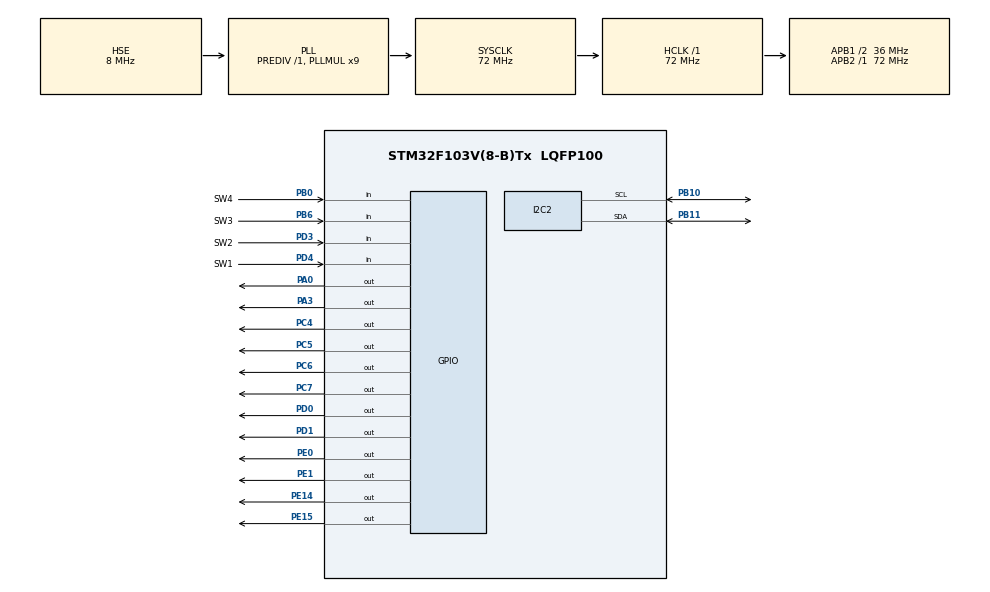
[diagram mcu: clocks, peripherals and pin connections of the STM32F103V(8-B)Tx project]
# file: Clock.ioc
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Mcu.Family=STM32F1
Mcu.Name=STM32F103V(8-B)Tx
Mcu.Package=LQFP100
NVIC.PriorityGroup=NVIC_PRIORITYGROUP_4
NVIC.TIM1_BRK_IRQn=true\:0\:0\:false\:false\:true\:true\:true
NVIC.TIM1_UP_IRQn=true\:0\:0\:false\:false\:true\:true\:true
NVIC.TIM2_IRQn=true\:0\:0\:false\:false\:true\:true\:true
OSC_IN.Mode=HSE-External-Oscillator
OSC_IN.Signal=RCC_OSC_IN
OSC_OUT.Mode=HSE-External-Oscillator
OSC_OUT.Signal=RCC_OSC_OUT
PA0-WKUP.Signal=GPIO_Output
PA13.Mode=Serial_Wire
PA13.Signal=SYS_JTMS-SWDIO
PA14.Mode=Serial_Wire
PA14.Signal=SYS_JTCK-SWCLK
PA3.Signal=GPIO_Output
PB0.GPIO_Label=SW4
PB0.Signal=GPIO_Input
PB10.Mode=I2C
PB10.Signal=I2C2_SCL
PB11.Mode=I2C
PB11.Signal=I2C2_SDA
PB6.GPIO_Label=SW3
PB6.Signal=GPIO_Input
PC4.Signal=GPIO_Output
PC5.Signal=GPIO_Output
PC6.Signal=GPIO_Output
PC7.Signal=GPIO_Output
PD0.Signal=GPIO_Output
PD1.Signal=GPIO_Output
PD3.GPIO_Label=SW2
PD3.Signal=GPIO_Input
PD4.GPIO_Label=SW1
PD4.Signal=GPIO_Input
PE0.Signal=GPIO_Output
PE1.Signal=GPIO_Output
PE14.Signal=GPIO_Output
PE15.Signal=GPIO_Output
ProjectManager.HeapSize=0x200
ProjectManager.StackSize=0x400
ProjectManager.TargetToolchain=STM32CubeIDE
RCC.AHBFreq_Value=72000000
RCC.APB1CLKDivider=RCC_HCLK_DIV2
RCC.APB1Freq_Value=36000000
RCC.APB1TimFreq_Value=72000000
RCC.APB2Freq_Value=72000000
RCC.APB2TimFreq_Value=72000000
RCC.HCLKFreq_Value=72000000
RCC.PLLMUL=RCC_PLL_MUL9
RCC.PLLSourceVirtual=RCC_PLLSOURCE_HSE
RCC.SYSCLKFreq_VALUE=72000000
RCC.SYSCLKSource=RCC_SYSCLKSOURCE_PLLCLK
RCC.USBFreq_Value=72000000
TIM1.Channel-Output\ Compare1\ No\ Output=TIM_CHANNEL_1
TIM1.Period=59999
TIM1.Prescaler=1199
TIM2.Channel-Output\ Compare1\ No\ Output=TIM_CHANNEL_1
TIM2.Period=29999
TIM2.Prescaler=1199
VP_TIM1_VS_ClockSourceINT.Mode=Internal
VP_TIM1_VS_no_output1.Mode=Output Compare1 No Output
VP_TIM2_VS_ClockSourceINT.Mode=Internal
VP_TIM2_VS_no_output1.Mode=Output Compare1 No Output
board=custom

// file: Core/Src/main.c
/* USER CODE BEGIN Header */
/**
  ******************************************************************************
  * @file           : main.c
  * @brief          : Main program body
  ******************************************************************************
  * @attention
  *
  * <h2><center>&copy; Copyright (c) 2022 STMicroelectronics.
  * All rights reserved.</center></h2>
  *
  * This software component is licensed by ST under BSD 3-Clause license,
  * the "License"; You may not use this file except in compliance with the
  * License. You may obtain a copy of the License at:
  *                        opensource.org/licenses/BSD-3-Clause
  *
  ******************************************************************************
  */
/* USER CODE END Header */
#include "main.h"

/* USER CODE BEGIN Includes */
#include "ssd1306.h"
#include "ssd1306_tests.h"
#include <stdbool.h>
#include <stdio.h>
/* USER CODE END Includes */

I2C_HandleTypeDef hi2c2;

TIM_HandleTypeDef htim1;
TIM_HandleTypeDef htim2;

/* USER CODE BEGIN PV */
int clockmode = 0;
int second = 0;
int minute = 0;
int hour = 0;
int year = 2022;
int month = 5;
int date = 29;
int alarm1[3]={0,0,0},alarm2[3]={0,0,0},alarm3[3]={0,0,0};
int alarm=0;
char line1[12],line2[12],line3[12];
int twinkle = 0;
/* USER CODE END PV */

void SystemClock_Config(void);
static void MX_GPIO_Init(void);
static void MX_I2C2_Init(void);
static void MX_TIM1_Init(void);
static void MX_TIM2_Init(void);
/* USER CODE BEGIN PFP */
void mode_check();
void oled_show();
void show_time();
void show_calendar();
void show_alarm();
void show_set();
void show_error();
int check_date();
int check_sw();
void set_date();
void store_time();
void read_time();
/* USER CODE END PFP */

int main(void)
{

  /* MCU Configuration--------------------------------------------------------*/

  /* Reset of all peripherals, Initializes the Flash interface and the Systick. */
  HAL_Init();

  /* Configure the system clock */
  SystemClock_Config();

  /* Initialize all configured peripherals */
  MX_GPIO_Init();
  MX_I2C2_Init();
  MX_TIM1_Init();
  MX_TIM2_Init();
  /* USER CODE BEGIN 2 */
  ssd1306_Init();
  HAL_TIM_Base_Start_IT(&htim1);
  HAL_TIM_Base_Start_IT(&htim2);
  read_time();
  /* USER CODE END 2 */

  /* Infinite loop */
  /* USER CODE BEGIN WHILE */
  while (1)
  {
	  mode_check();
	  oled_show();
    /* USER CODE END WHILE */

  }
}

void SystemClock_Config(void)
{
  RCC_OscInitTypeDef RCC_OscInitStruct = {0};
  RCC_ClkInitTypeDef RCC_ClkInitStruct = {0};

  /** Initializes the RCC Oscillators according to the specified parameters
  * in the RCC_OscInitTypeDef structure.
  */
  RCC_OscInitStruct.OscillatorType = RCC_OSCILLATORTYPE_HSE;
  RCC_OscInitStruct.HSEState = RCC_HSE_ON;
  RCC_OscInitStruct.HSEPredivValue = RCC_HSE_PREDIV_DIV1;
  RCC_OscInitStruct.HSIState = RCC_HSI_ON;
  RCC_OscInitStruct.PLL.PLLState = RCC_PLL_ON;
  RCC_OscInitStruct.PLL.PLLSource = RCC_PLLSOURCE_HSE;
  RCC_OscInitStruct.PLL.PLLMUL = RCC_PLL_MUL9;
  if (HAL_RCC_OscConfig(&RCC_OscInitStruct) != HAL_OK)
  {
    Error_Handler();
  }
  /** Initializes the CPU, AHB and APB buses clocks
  */
  RCC_ClkInitStruct.ClockType = RCC_CLOCKTYPE_HCLK|RCC_CLOCKTYPE_SYSCLK
                              |RCC_CLOCKTYPE_PCLK1|RCC_CLOCKTYPE_PCLK2;
  RCC_ClkInitStruct.SYSCLKSource = RCC_SYSCLKSOURCE_PLLCLK;
  RCC_ClkInitStruct.AHBCLKDivider = RCC_SYSCLK_DIV1;
  RCC_ClkInitStruct.APB1CLKDivider = RCC_HCLK_DIV2;
  RCC_ClkInitStruct.APB2CLKDivider = RCC_HCLK_DIV1;

  if (HAL_RCC_ClockConfig(&RCC_ClkInitStruct, FLASH_LATENCY_2) != HAL_OK)
  {
    Error_Handler();
  }
}

static void MX_I2C2_Init(void)
{

  hi2c2.Instance = I2C2;
  hi2c2.Init.ClockSpeed = 100000;
  hi2c2.Init.DutyCycle = I2C_DUTYCYCLE_2;
  hi2c2.Init.OwnAddress1 = 0;
  hi2c2.Init.AddressingMode = I2C_ADDRESSINGMODE_7BIT;
  hi2c2.Init.DualAddressMode = I2C_DUALADDRESS_DISABLE;
  hi2c2.Init.OwnAddress2 = 0;
  hi2c2.Init.GeneralCallMode = I2C_GENERALCALL_DISABLE;
  hi2c2.Init.NoStretchMode = I2C_NOSTRETCH_DISABLE;
  if (HAL_I2C_Init(&hi2c2) != HAL_OK)
  {
    Error_Handler();
  }

}

static void MX_TIM1_Init(void)
{

  TIM_ClockConfigTypeDef sClockSourceConfig = {0};
  TIM_MasterConfigTypeDef sMasterConfig = {0};
  TIM_OC_InitTypeDef sConfigOC = {0};
  TIM_BreakDeadTimeConfigTypeDef sBreakDeadTimeConfig = {0};

  htim1.Instance = TIM1;
  htim1.Init.Prescaler = 1199;
  htim1.Init.CounterMode = TIM_COUNTERMODE_UP;
  htim1.Init.Period = 59999;
  htim1.Init.ClockDivision = TIM_CLOCKDIVISION_DIV1;
  htim1.Init.RepetitionCounter = 0;
  htim1.Init.AutoReloadPreload = TIM_AUTORELOAD_PRELOAD_DISABLE;
  if (HAL_TIM_Base_Init(&htim1) != HAL_OK)
  {
    Error_Handler();
  }
  sClockSourceConfig.ClockSource = TIM_CLOCKSOURCE_INTERNAL;
  if (HAL_TIM_ConfigClockSource(&htim1, &sClockSourceConfig) != HAL_OK)
  {
    Error_Handler();
  }
  if (HAL_TIM_OC_Init(&htim1) != HAL_OK)
  {
    Error_Handler();
  }
  sMasterConfig.MasterOutputTrigger = TIM_TRGO_RESET;
  sMasterConfig.MasterSlaveMode = TIM_MASTERSLAVEMODE_DISABLE;
  if (HAL_TIMEx_MasterConfigSynchronization(&htim1, &sMasterConfig) != HAL_OK)
  {
    Error_Handler();
  }
  sConfigOC.OCMode = TIM_OCMODE_TIMING;
  sConfigOC.Pulse = 0;
  sConfigOC.OCPolarity = TIM_OCPOLARITY_HIGH;
  sConfigOC.OCNPolarity = TIM_OCNPOLARITY_HIGH;
  sConfigOC.OCFastMode = TIM_OCFAST_DISABLE;
  sConfigOC.OCIdleState = TIM_OCIDLESTATE_RESET;
  sConfigOC.OCNIdleState = TIM_OCNIDLESTATE_RESET;
  if (HAL_TIM_OC_ConfigChannel(&htim1, &sConfigOC, TIM_CHANNEL_1) != HAL_OK)
  {
    Error_Handler();
  }
  sBreakDeadTimeConfig.OffStateRunMode = TIM_OSSR_DISABLE;
  sBreakDeadTimeConfig.OffStateIDLEMode = TIM_OSSI_DISABLE;
  sBreakDeadTimeConfig.LockLevel = TIM_LOCKLEVEL_OFF;
  sBreakDeadTimeConfig.DeadTime = 0;
  sBreakDeadTimeConfig.BreakState = TIM_BREAK_DISABLE;
  sBreakDeadTimeConfig.BreakPolarity = TIM_BREAKPOLARITY_HIGH;
  sBreakDeadTimeConfig.AutomaticOutput = TIM_AUTOMATICOUTPUT_DISABLE;
  if (HAL_TIMEx_ConfigBreakDeadTime(&htim1, &sBreakDeadTimeConfig) != HAL_OK)
  {
    Error_Handler();
  }

}

static void MX_TIM2_Init(void)
{

  TIM_ClockConfigTypeDef sClockSourceConfig = {0};
  TIM_MasterConfigTypeDef sMasterConfig = {0};
  TIM_OC_InitTypeDef sConfigOC = {0};

  htim2.Instance = TIM2;
  htim2.Init.Prescaler = 1199;
  htim2.Init.CounterMode = TIM_COUNTERMODE_UP;
  htim2.Init.Period = 29999;
  htim2.Init.ClockDivision = TIM_CLOCKDIVISION_DIV1;
  htim2.Init.AutoReloadPreload = TIM_AUTORELOAD_PRELOAD_DISABLE;
  if (HAL_TIM_Base_Init(&htim2) != HAL_OK)
  {
    Error_Handler();
  }
  sClockSourceConfig.ClockSource = TIM_CLOCKSOURCE_INTERNAL;
  if (HAL_TIM_ConfigClockSource(&htim2, &sClockSourceConfig) != HAL_OK)
  {
    Error_Handler();
  }
  if (HAL_TIM_OC_Init(&htim2) != HAL_OK)
  {
    Error_Handler();
  }
  sMasterConfig.MasterOutputTrigger = TIM_TRGO_RESET;
  sMasterConfig.MasterSlaveMode = TIM_MASTERSLAVEMODE_DISABLE;
  if (HAL_TIMEx_MasterConfigSynchronization(&htim2, &sMasterConfig) != HAL_OK)
  {
    Error_Handler();
  }
  sConfigOC.OCMode = TIM_OCMODE_TIMING;
  sConfigOC.Pulse = 0;
  sConfigOC.OCPolarity = TIM_OCPOLARITY_HIGH;
  sConfigOC.OCFastMode = TIM_OCFAST_DISABLE;
  if (HAL_TIM_OC_ConfigChannel(&htim2, &sConfigOC, TIM_CHANNEL_1) != HAL_OK)
  {
    Error_Handler();
  }

}

static void MX_GPIO_Init(void)
{
  GPIO_InitTypeDef GPIO_InitStruct = {0};

  /* GPIO Ports Clock Enable */
  __HAL_RCC_GPIOA_CLK_ENABLE();
  __HAL_RCC_GPIOC_CLK_ENABLE();
  __HAL_RCC_GPIOB_CLK_ENABLE();
  __HAL_RCC_GPIOE_CLK_ENABLE();
  __HAL_RCC_GPIOD_CLK_ENABLE();

  /*Configure GPIO pin Output Level */
  HAL_GPIO_WritePin(GPIOA, GPIO_PIN_0|GPIO_PIN_3, GPIO_PIN_RESET);

  /*Configure GPIO pin Output Level */
  HAL_GPIO_WritePin(GPIOC, GPIO_PIN_4|GPIO_PIN_5|GPIO_PIN_6|GPIO_PIN_7, GPIO_PIN_RESET);

  /*Configure GPIO pin Output Level */
  HAL_GPIO_WritePin(GPIOE, GPIO_PIN_14|GPIO_PIN_15|GPIO_PIN_0|GPIO_PIN_1, GPIO_PIN_RESET);

  /*Configure GPIO pin Output Level */
  HAL_GPIO_WritePin(GPIOD, GPIO_PIN_0|GPIO_PIN_1, GPIO_PIN_RESET);

  /*Configure GPIO pins : PA0 PA3 */
  GPIO_InitStruct.Pin = GPIO_PIN_0|GPIO_PIN_3;
  GPIO_InitStruct.Mode = GPIO_MODE_OUTPUT_PP;
  GPIO_InitStruct.Pull = GPIO_NOPULL;
  GPIO_InitStruct.Speed = GPIO_SPEED_FREQ_LOW;
  HAL_GPIO_Init(GPIOA, &GPIO_InitStruct);

  /*Configure GPIO pins : PC4 PC5 PC6 PC7 */
  GPIO_InitStruct.Pin = GPIO_PIN_4|GPIO_PIN_5|GPIO_PIN_6|GPIO_PIN_7;
  GPIO_InitStruct.Mode = GPIO_MODE_OUTPUT_PP;
  GPIO_InitStruct.Pull = GPIO_NOPULL;
  GPIO_InitStruct.Speed = GPIO_SPEED_FREQ_LOW;
  HAL_GPIO_Init(GPIOC, &GPIO_InitStruct);

  /*Configure GPIO pins : SW4_Pin SW3_Pin */
  GPIO_InitStruct.Pin = SW4_Pin|SW3_Pin;
  GPIO_InitStruct.Mode = GPIO_MODE_INPUT;
  GPIO_InitStruct.Pull = GPIO_NOPULL;
  HAL_GPIO_Init(GPIOB, &GPIO_InitStruct);

  /*Configure GPIO pins : PE14 PE15 PE0 PE1 */
  GPIO_InitStruct.Pin = GPIO_PIN_14|GPIO_PIN_15|GPIO_PIN_0|GPIO_PIN_1;
  GPIO_InitStruct.Mode = GPIO_MODE_OUTPUT_PP;
  GPIO_InitStruct.Pull = GPIO_NOPULL;
  GPIO_InitStruct.Speed = GPIO_SPEED_FREQ_LOW;
  HAL_GPIO_Init(GPIOE, &GPIO_InitStruct);

  /*Configure GPIO pins : PD0 PD1 */
  GPIO_InitStruct.Pin = GPIO_PIN_0|GPIO_PIN_1;
  GPIO_InitStruct.Mode = GPIO_MODE_OUTPUT_PP;
  GPIO_InitStruct.Pull = GPIO_NOPULL;
  GPIO_InitStruct.Speed = GPIO_SPEED_FREQ_LOW;
  HAL_GPIO_Init(GPIOD, &GPIO_InitStruct);

  /*Configure GPIO pins : SW2_Pin SW1_Pin */
  GPIO_InitStruct.Pin = SW2_Pin|SW1_Pin;
  GPIO_InitStruct.Mode = GPIO_MODE_INPUT;
  GPIO_InitStruct.Pull = GPIO_NOPULL;
  HAL_GPIO_Init(GPIOD, &GPIO_InitStruct);

}

/* USER CODE BEGIN 4 */
void mode_check(){
	int sw = check_sw();
	if(sw == 0)return;
	if(sw == 1){
		if(clockmode == 0 || clockmode == 1){
			clockmode++;
		}
		else if(clockmode == 2)clockmode = 0;
	}

	//change the alarm being displayed
	if(clockmode == 2){
		if(sw == 3)alarm = 0;
		if(sw == 2)alarm = 1;
	}

	//setmode
	if(sw == 4){
		if(clockmode == 0){
			//set_time
			clockmode = 3;
		}
		else if(clockmode == 1){
			//set_calendar
			clockmode = 4;
		}

		else if(clockmode == 2){
			//set alarm
			clockmode = 5;
		}else if(clockmode == 3){
			store_time();
			clockmode = 0;
		}
		else if(clockmode == 4){
			store_time();
			clockmode = 1;
		}
		else if(clockmode == 5){
			store_time();
			clockmode = 2;
		}
	}
	return;
}

void oled_show(){
	//clock mode
	if(clockmode == 0){
		show_time();
	}
	//calendar mode
	else if(clockmode == 1){
		show_calendar();
	}
	//alarm mode
	else if(clockmode == 2){
		show_alarm();
	}
	//set mode
	else if(clockmode == 3 || clockmode == 4 || clockmode == 5){
		show_set();
	}
	//error mode
	else if(clockmode == 6){
		show_error();
	}
	//unnormal
	else {
		clockmode = 0;
	}

	ssd1306_Fill(Black);
	ssd1306_SetCursor(2,0);
	ssd1306_WriteString(line1, Font_11x18, White);
	ssd1306_SetCursor(2,18);
	ssd1306_WriteString(line2, Font_11x18, White);
	ssd1306_SetCursor(2,36);
	ssd1306_WriteString(line3, Font_11x18, White);
	ssd1306_UpdateScreen();
	return;
}

void show_time(){
	sprintf(line1,"    time   ");
	sprintf(line2," %2d:%2d:%2d ",hour,minute,second);
	sprintf(line3,"           ");
}

void show_alarm(){
	sprintf(line1,"   alarm   ");
	if(alarm == 0){
		if(alarm1[0]) sprintf(line2,"1.%2d:%2d  ON",alarm1[1],alarm1[2]);
		else sprintf(line2,"1.%2d:%2d OFF",alarm1[1],alarm1[2]);
		if(alarm2[0]) sprintf(line3,"2.%2d:%2d  ON",alarm2[1],alarm2[2]);
		else sprintf(line3,"2.%2d:%2d OFF",alarm2[1],alarm2[2]);
	}

	else{
		if(alarm2[0]) sprintf(line2,"2.%2d:%2d  ON",alarm2[1],alarm2[2]);
		else sprintf(line2,"2.%2d:%2d OFF",alarm2[1],alarm2[2]);
		if(alarm3[0]) sprintf(line3,"3.%2d:%2d  ON",alarm3[1],alarm3[2]);
		else sprintf(line3,"3.%2d:%2d OFF",alarm3[1],alarm3[2]);
	}
}

void show_calendar(){
	sprintf(line1,"  calendar ");
	sprintf(line2,"%4d.%2d.%2d",year,month,date);
	sprintf(line3,"           ");
}

void show_set(int set){
	int sw = check_sw();
	static int unit_time = 0;
	static int unit_alarm1 = 0;
	static int unit_alarm2 = 0;
	static int unit_calendar = 0;

	//set time
	if(clockmode == 3){
		if(sw == 1){
			if(unit_time < 2) unit_time++;
			else unit_time = 0;
		}
		if(sw == 4){
			unit_time = 0;
		}
		sprintf(line1,"    time   ");

		//set time of hour
		if(unit_time == 0){
			if(twinkle == 0)sprintf(line2," %2d:%2d:%2d ",hour,minute,second);
			else sprintf(line2,"   :%2d:%2d ",minute,second);
			if(sw == 3){
				if(hour < 24)hour++;
				else hour = 0;
			}
			else if(sw == 2){
				if(hour > 0)hour--;
				else hour = 0;
			}
		}

		//set time of minute
		else if(unit_time == 1){
			if(twinkle == 0)sprintf(line2," %2d:%2d:%2d ",hour,minute,second);
			else sprintf(line2," %2d:  :%2d ",hour,second);
			if(sw == 3){
				if(minute < 60)minute++;
				else minute = 0;
			}
			else if(sw == 2){
				if(minute > 0)minute--;
				else minute = 0;
			}
		}

		//set time of second
		else if(unit_time == 2){
			if(twinkle == 0)sprintf(line2," %2d:%2d:%2d ",hour,minute,second);
			else sprintf(line2," %2d:%2d:   ",hour,minute);
			if(sw == 3){
				second = 0;
				minute++;
				if(minute == 60){
					minute = 0;
					hour++;
				}
			}
			else if(sw == 2){
				second = 0;
			}
		}
		sprintf(line3,"           ");

	}

	//set calendar
	else if(clockmode == 4){
		if(sw == 1){
			if(unit_calendar < 2) unit_calendar++;
			else unit_calendar = 0;
		}
		if(sw == 4){
			unit_calendar = 0;
		}
		sprintf(line1,"  calendar ");

		//set year
		if(unit_calendar == 0){
			if(twinkle == 0)sprintf(line2,"%4d.%2d.%2d",year,month,date);
			else sprintf(line2,"    .%2d.%2d",month,date);
			if(sw == 3){
				year++;
			}
			else if(sw == 2){
				year--;
			}
		}

		//set month
		else if(unit_calendar == 1){
			if(twinkle == 0)sprintf(line2,"%4d.%2d.%2d",year,month,date);
			else sprintf(line2,"%4d.  .%2d",year,date);
			if(sw == 3){
				if(month < 12)month++;
				else month = 12;
			}
			else if(sw == 2){
				if(month > 1)month--;
				else month = 1;
			}
		}

		//set date
		else if(unit_calendar == 2){
			if(twinkle == 0)sprintf(line2,"%4d.%2d.%2d",year,month,date);
			else sprintf(line2,"%4d.%2d.  ",year,month);
			if(month == 1 || month == 3 || month == 5 || month == 7 || month == 8 || month == 10 || month == 12){
				if(sw == 3){
					if(date <31) date ++;
					else date = 1;
				}
				else if(sw == 2){
					if(date > 1)date--;
					else date = 1;
				}
			}
			else if(month == 4 || month == 6 || month == 9 || month == 11){
				if(sw == 3){
					if(date <30) date ++;
					else date = 1;
				}
				else if(sw == 2){
					if(date > 1)date--;
					else date = 1;
				}
			}
			else if(month == 2){
				if((year % 400 == 0) || ((year % 4 == 0) && !(year % 100 == 0))){
					if(sw == 3){
						if(date <29) date ++;
						else date = 1;
					}
					else if(sw == 2){
						if(date > 1)date--;
						else date = 1;
					}
				}
				else {
					if(sw == 3){
						if(date <28) date ++;
						else date = 1;
					}
					else if(sw == 2){
						if(date > 1)date--;
						else date = 1;
					}
				}
			}
		}
		sprintf(line3,"           ");
	}

	//set alarm
	else if(clockmode == 5){
		if(sw == 1){
			if(unit_alarm2 < 2){
				unit_alarm2++;
			}
			else{
				unit_alarm2 = 0;
				unit_alarm1++;
			}
			if(unit_alarm1 > 2){
				unit_alarm1 = 0;
			}
		}
		if(sw == 4){
			unit_alarm1 = 0;
			unit_alarm2 = 0;
		}

		if(unit_alarm1 == 0){//set alarm1
			if(alarm2[0])sprintf(line3,"2.%2d:%2d  ON",alarm2[1],alarm2[2]);
			else sprintf(line3,"2.%2d:%2d OFF",alarm2[1],alarm2[2]);
			if(unit_alarm2 == 0){
				if(twinkle == 0){
					if(alarm1[0])sprintf(line2,"1.%2d:%2d  ON",alarm1[1],alarm1[2]);
					else sprintf(line2,"1.%2d:%2d OFF",alarm1[1],alarm1[2]);
				}
				else {
					if(alarm1[0])sprintf(line2,"1.  :%2d  ON",alarm1[2]);
					else sprintf(line2,"1.  :%2d OFF",alarm1[2]);
				}

				if(sw == 3){
					if(alarm1[1] < 24)alarm1[1]++;
					else alarm1[1] = 0;
				}
				else if(sw == 2){
					if(alarm1[1] > 0)alarm1[1]--;
					else alarm1[1] = 0;
				}
			}
			else if(unit_alarm2 == 1){
				if(twinkle == 0){
					if(alarm1[0])sprintf(line2,"1.%2d:%2d  ON",alarm1[1],alarm1[2]);
					else sprintf(line2,"1.%2d:%2d OFF",alarm1[1],alarm1[2]);
				}
				else {
					if(alarm1[0])sprintf(line2,"1.%2d:    ON",alarm1[1]);
					else sprintf(line2,"1.%2d:   OFF",alarm1[1]);
				}

				if(sw == 3){
					if(alarm1[2] < 60)alarm1[2]++;
					else alarm1[2] = 0;
				}
				else if(sw == 2){
					if(alarm1[2] > 0)alarm1[2]--;
					else alarm1[2] = 0;
				}
			}
			else if(unit_alarm2 == 2){
				if(twinkle == 0){
					if(alarm1[0])sprintf(line2,"1.%2d:%2d  ON",alarm1[1],alarm1[2]);
					else sprintf(line2,"1.%2d:%2d OFF",alarm1[1],alarm1[2]);
				}
				else {
					if(alarm1[0])sprintf(line2,"1.%2d:%2d    ",alarm1[1], alarm1[2]);
					else sprintf(line2,"1.%2d:%2d    ",alarm1[1], alarm1[2]);
				}

				if(sw == 3){
					if(alarm1[0] == 0)alarm1[0]++;
					else alarm1[0] = 0;
				}
				else if(sw == 2){
					if(alarm1[0] > 0)alarm1[0]--;
					else alarm1[0] = 0;
				}
			}
		}
		else if(unit_alarm1 == 1){//set alarm2
			if(alarm3[0])sprintf(line3,"3.%2d:%2d  ON",alarm3[1],alarm3[2]);
			else sprintf(line3,"3.%2d:%2d OFF",alarm3[1],alarm3[2]);
			if(unit_alarm2 == 0){
				if(twinkle == 0){
					if(alarm2[0])sprintf(line2,"2.%2d:%2d  ON",alarm2[1],alarm2[2]);
					else sprintf(line2,"2.%2d:%2d OFF",alarm2[1],alarm2[2]);
				}
				else {
					if(alarm2[0])sprintf(line2,"2.  :%2d  ON",alarm2[2]);
					else sprintf(line2,"2.  :%2d OFF",alarm2[2]);
				}

				if(sw == 3){
					if(alarm2[1] < 24)alarm2[1]++;
					else alarm2[1] = 0;
				}
				else if(sw == 2){
					if(alarm2[1] > 0)alarm2[1]--;
					else alarm2[1] = 0;
				}
			}
			else if(unit_alarm2 == 1){
				if(twinkle == 0){
					if(alarm2[0])sprintf(line2,"2.%2d:%2d  ON",alarm2[1],alarm2[2]);
					else sprintf(line2,"2.%2d:%2d OFF",alarm2[1],alarm2[2]);
				}
				else {
					if(alarm2[0])sprintf(line2,"2.%2d:    ON",alarm2[1]);
					else sprintf(line2,"2.%2d:   OFF",alarm2[1]);
				}

				if(sw == 3){
					if(alarm2[2] < 60)alarm2[2]++;
					else alarm2[2] = 0;
				}
				else if(sw == 2){
					if(alarm2[2] > 0)alarm2[2]--;
					else alarm2[2] = 0;
				}
			}
			else if(unit_alarm2 == 2){
				if(twinkle == 0){
					if(alarm2[0])sprintf(line2,"2.%2d:%2d  ON",alarm2[1],alarm2[2]);
					else sprintf(line2,"2.%2d:%2d OFF",alarm2[1],alarm2[2]);
				}
				else {
					if(alarm2[0])sprintf(line2,"2.%2d:%2d    ",alarm2[1], alarm2[2]);
					else sprintf(line2,"2.%2d:%2d    ",alarm2[1], alarm2[2]);
				}

				if(sw == 3){
					if(alarm2[0] == 0)alarm2[0]++;
					else alarm2[0] = 0;
				}
				else if(sw == 2){
					if(alarm2[0] > 0)alarm2[0]--;
					else alarm2[0] = 0;
				}
			}
		}
		else if(unit_alarm1 == 2){//set alarm3
			if(alarm2[0])sprintf(line2,"2.%2d:%2d  ON",alarm2[1],alarm2[2]);
			else sprintf(line2,"2.%2d:%2d OFF",alarm2[1],alarm2[2]);
			if(unit_alarm2 == 0){
				if(twinkle == 0){
					if(alarm3[0])sprintf(line3,"3.%2d:%2d  ON",alarm3[1],alarm3[2]);
					else sprintf(line3,"3.%2d:%2d OFF",alarm3[1],alarm3[2]);
				}
				else {
					if(alarm3[0])sprintf(line3,"3.  :%2d  ON",alarm3[2]);
					else sprintf(line3,"3.  :%2d OFF",alarm3[2]);
				}

				if(sw == 3){
					if(alarm3[1] < 24)alarm3[1]++;
					else alarm3[1] = 0;
				}
				else if(sw == 2){
					if(alarm3[1] > 0)alarm3[1]--;
					else alarm3[1] = 0;
				}
			}
			else if(unit_alarm2 == 1){
				if(twinkle == 0){
					if(alarm3[0])sprintf(line3,"3.%2d:%2d  ON",alarm3[1],alarm3[2]);
					else sprintf(line3,"3.%2d:%2d OFF",alarm3[1],alarm3[2]);
				}
				else {
					if(alarm3[0])sprintf(line3,"3.%2d:    ON",alarm3[1]);
					else sprintf(line3,"3.%2d:   OFF",alarm3[1]);
				}

				if(sw == 3){
					if(alarm3[2] < 60)alarm3[2]++;
					else alarm3[2] = 0;
				}
				else if(sw == 2){
					if(alarm3[2] > 0)alarm3[2]--;
					else alarm3[2] = 0;
				}
			}
			else if(unit_alarm2 == 2){
				if(twinkle == 0){
					if(alarm3[0])sprintf(line3,"3.%2d:%2d  ON",alarm3[1],alarm3[2]);
					else sprintf(line3,"3.%2d:%2d OFF",alarm3[1],alarm3[2]);
				}
				else {
					if(alarm3[0])sprintf(line3,"3.%2d:%2d    ",alarm3[1], alarm3[2]);
					else sprintf(line3,"3.%2d:%2d    ",alarm3[1], alarm3[2]);
				}

				if(sw == 3){
					if(alarm3[0] == 0)alarm3[0]++;
					else alarm3[0] = 0;
				}
				else if(sw == 2){
					if(alarm3[0] > 0)alarm3[0]--;
					else alarm3[0] = 0;
				}
			}
		}

	}
}

void show_error(){
	sprintf(line1,"time error ");
	sprintf(line2,"           ");
	sprintf(line3,"           ");
}

int check_date(){
	return 0;
}

//check which sw is pressed
int check_sw(){
	//check if sw1 is pressed
	if(HAL_GPIO_ReadPin(GPIOD, SW1_Pin)){
		HAL_Delay(10);
		if(HAL_GPIO_ReadPin(GPIOD, SW1_Pin)){
			return 1;
		}
	}

	//check if sw2 is pressed
	if(HAL_GPIO_ReadPin(GPIOD, SW2_Pin)){
		HAL_Delay(10);
		if(HAL_GPIO_ReadPin(GPIOD, SW2_Pin)){
			return 2;
		}
	}

	//check if sw3 is pressed
	if(HAL_GPIO_ReadPin(GPIOB, SW3_Pin)){
		HAL_Delay(10);
		if(HAL_GPIO_ReadPin(GPIOB, SW3_Pin)){
			return 3;
		}
	}

	//check if sw4 is pressed
	if(HAL_GPIO_ReadPin(GPIOB, SW4_Pin)){
		HAL_Delay(10);
		if(HAL_GPIO_ReadPin(GPIOB, SW4_Pin)){
			return 4;
		}
	}
	return 0;
}

//set the date right
void set_date(){

}

//store the time to flash
void store_time(){
	uint32_t Robot_Num_Flash_Add = 0x08010000;

	FLASH_EraseInitTypeDef My_Flash;  //声明 FLASH_EraseInitTypeDef 结构体为 My_Flash
	HAL_FLASH_Unlock();               //解锁Flash

	My_Flash.TypeErase = FLASH_TYPEERASE_PAGES;  //标明Flash执行页面只做擦除操作
	My_Flash.PageAddress = Robot_Num_Flash_Add;  //声明要擦除的地址
	My_Flash.NbPages = 1;                        //说明要擦除的页数，此参数必须是Min_Data = 1和Max_Data =(最大页数-初始页的值)之间的值
	uint32_t PageError = 0;                    //设置PageError,如果出现错误这个变量会被设置为出错的FLASH地址
	HAL_FLASHEx_Erase(&My_Flash, &PageError);  //调用擦除函数擦除

	int Write_Flash_Data[15] = {second, minute, hour, year, month, date, alarm1[0], alarm1[1], alarm1[2], alarm2[0], alarm2[1], alarm2[2], alarm3[0], alarm3[1], alarm3[2]};

		//对Flash进行烧写，FLASH_TYPEPROGRAM_HALFWORD 声明操作的Flash地址的16位的，此外还有32位跟64位的操作，自行翻查HAL库的定义即可
	for(uint32_t i = 0; i < 15; i++){
		HAL_FLASH_Program(FLASH_TYPEPROGRAM_WORD, Robot_Num_Flash_Add + i*32, Write_Flash_Data[i]);
	}

	HAL_FLASH_Lock();
}

//read the time from flash
void read_time(){
	uint32_t Robot_Num_Flash_Add = 0x08010000;
	second = (int)*(__IO uint32_t*)( Robot_Num_Flash_Add ); //*(__IO uint16_t *)是读取该地址的参数值,其值为16位数据,一次读取两个字节，*(__IO uint32_t *)就一次读4个字节
	minute = (int)*(__IO uint32_t*)( Robot_Num_Flash_Add + 32);
	hour =   (int)*(__IO uint32_t*)( Robot_Num_Flash_Add + 32*2);
	year =   (int)*(__IO uint32_t*)( Robot_Num_Flash_Add + 32*3);
	month =  (int)*(__IO uint32_t*)( Robot_Num_Flash_Add + 32*4);
	date =   (int)*(__IO uint32_t*)( Robot_Num_Flash_Add + 32*5);
	alarm1[0] = (int)*(__IO uint32_t*)( Robot_Num_Flash_Add + 32*6);
	alarm1[1] = (int)*(__IO uint32_t*)( Robot_Num_Flash_Add + 32*7);
	alarm1[2] = (int)*(__IO uint32_t*)( Robot_Num_Flash_Add + 32*8);
	alarm2[0] = (int)*(__IO uint32_t*)( Robot_Num_Flash_Add + 32*9);
	alarm2[1] = (int)*(__IO uint32_t*)( Robot_Num_Flash_Add + 32*10);
	alarm2[2] = (int)*(__IO uint32_t*)( Robot_Num_Flash_Add + 32*11);
	alarm3[0] = (int)*(__IO uint32_t*)( Robot_Num_Flash_Add + 32*12);
	alarm3[1] = (int)*(__IO uint32_t*)( Robot_Num_Flash_Add + 32*13);
	alarm3[2] = (int)*(__IO uint32_t*)( Robot_Num_Flash_Add + 32*14);
}

void HAL_TIM_PeriodElapsedCallback(TIM_HandleTypeDef *htim)
{

    if(htim == (&htim2)){
    	if(twinkle == 0){
    		twinkle = 1;
    	}
    	else twinkle = 0;
    }

    if (htim == (&htim1))
    {
    	HAL_GPIO_TogglePin(GPIOC, GPIO_PIN_4);
    	HAL_GPIO_TogglePin(GPIOC, GPIO_PIN_5);
    	HAL_GPIO_TogglePin(GPIOD, GPIO_PIN_0);
    	HAL_GPIO_TogglePin(GPIOD, GPIO_PIN_1);
    	HAL_GPIO_TogglePin(GPIOE, GPIO_PIN_0);
    	HAL_GPIO_TogglePin(GPIOE, GPIO_PIN_1);
    	HAL_GPIO_TogglePin(GPIOA, GPIO_PIN_0);
    	HAL_GPIO_TogglePin(GPIOA, GPIO_PIN_3);
    	HAL_GPIO_TogglePin(GPIOC, GPIO_PIN_6);
    	HAL_GPIO_TogglePin(GPIOC, GPIO_PIN_7);
    	HAL_GPIO_TogglePin(GPIOE, GPIO_PIN_14);
    	HAL_GPIO_TogglePin(GPIOE, GPIO_PIN_15);

    		second++;
    		if(second >= 60){
    			second = 0;
    			minute++;
    		}
    		if(minute>=60){
    			minute = 0;
    			hour++;
    		}
    		if(hour >= 24){
    			hour=0;
    			date++;
    			set_date();
    		}
    		if(second % 10 == 0){
    			store_time();
    		}
    }
    return;
}
/* USER CODE END 4 */

void Error_Handler(void)
{
  __disable_irq();
  while (1)
  {
  }
}

/************************ (C) COPYRIGHT STMicroelectronics *****END OF FILE****/
